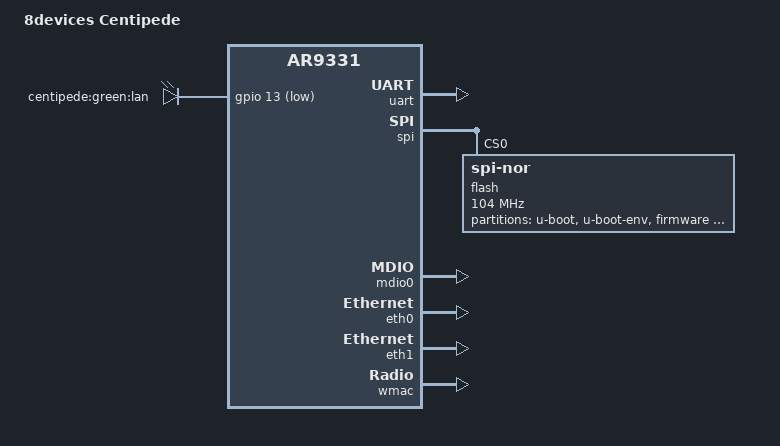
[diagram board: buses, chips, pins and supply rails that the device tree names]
// SPDX-License-Identifier: GPL-2.0-or-later OR MIT
/dts-v1/;

#include <dt-bindings/gpio/gpio.h>
#include <dt-bindings/input/input.h>

#include "ar9331.dtsi"

/ {
	model = "8devices Centipede";
	compatible = "8dev,centipede", "qca,ar9331";

	aliases {
		serial0 = &uart;
                label-mac-device = &wmac;
	};

	leds {
		compatible = "gpio-leds";
		pinctrl-names = "default";
		pinctrl-0 = <&jtag_disable_pins &switch_led_disable_pins>;

		lan {
			label = "centipede:green:lan";
			gpios = <&gpio 13 GPIO_ACTIVE_LOW>;
		};
	};
};

&pinmux {
	reg = <0x18040028 0xC>;

	uart_rts_cts_enable: pinmux_uart_rts_cts_enable {
		pinctrl-single,bits = <0x0 0x4 0x4>;
	};

	buttons_disable_pins: pinmux_buttons_disable_pins {
		pinctrl-single,bits = <0x8 0x300 0x300>;
	};
};


&ref {
	clock-frequency = <40000000>;
};

&uart {
	status = "okay";
//	pinctrl-names = "default";
//	pinctrl-0 = <&buttons_disable_pins &uart_rts_cts_enable>;

//	uart-has-rtscts;
};

&gpio {
	status = "okay";
};

//&usb {
//	dr_mode = "host";
//	status = "okay";
//};

//&usb_phy {
//	status = "okay";
//};

&spi {
	num-chipselects = <0>;
	status = "okay";

	flash@0 {
		compatible = "jedec,spi-nor";
		spi-max-frequency = <104000000>;
		reg = <0>;

		partitions {
			compatible = "fixed-partitions";
			#address-cells = <1>;
			#size-cells = <1>;

			uboot:	partition@0 {
				label = "u-boot";
				reg = <0x000000 0x040000>;
				read-only;
			};

			partition@40000 {
				label = "u-boot-env";
				reg = <0x040000 0x010000>;
				read-only;
			};

			partition@50000 {
				compatible = "denx,uimage";
				label = "firmware";
				reg = <0x50000 0xfa0000>;
			};

			art: partition@ff0000 {
				label = "art";
				reg = <0xff0000 0x010000>;
				read-only;
			};
		};
	};
};

&mdio0 {
	status = "okay";
};

&eth0 {
	status = "okay";
        mtd-mac-address = <&art 0x0>;

        gmac-config {
                device = <&gmac>;

                switch-phy-addr-swap = <1>;
                switch-phy-swap = <1>;
        };
};

&eth1 {
	status = "okay";
	mtd-mac-address = <&art 0x0>;
};

&wmac {
	status = "okay";
	mtd-cal-data = <&art 0x1000>;
};
